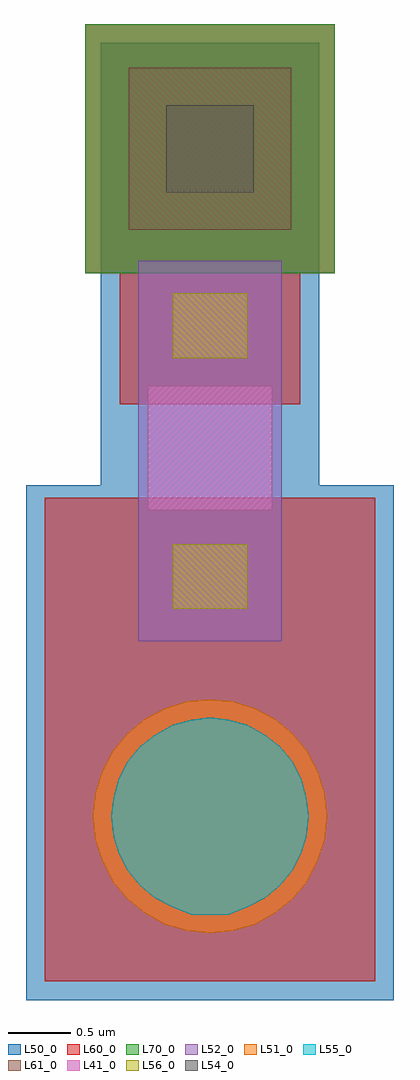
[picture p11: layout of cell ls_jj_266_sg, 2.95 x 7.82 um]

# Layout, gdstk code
import gdstk
lib = gdstk.Library(unit=1e-6, precision=1e-09)
def R(c, l, rs):  # rectangles x0, y0, x1, y1
    for r in rs: c.add(gdstk.rectangle(r[:2], r[2:], *l))
def P(c, l, *ps):  # polygons
    for p in ps: c.add(gdstk.Polygon(p, *l))
L41_0 = (41, 0)
L50_0 = (50, 0)
L51_0 = (51, 0)
L52_0 = (52, 0)
L54_0 = (54, 0)
L55_0 = (55, 0)
L56_0 = (56, 0)
L60_0 = (60, 0)
L61_0 = (61, 0)
L70_0 = (70, 0)

ls_conn_m5m6m7 = lib.new_cell('ls_conn_M5M6M7')
R(ls_conn_m5m6m7, L50_0, [(-0.5,-0.5,1.2,1.2)])
R(ls_conn_m5m6m7, L54_0, [(0,0,0.7,0.7)])
R(ls_conn_m5m6m7, L60_0, [(-0.65,-0.65,1.35,1.35)])
R(ls_conn_m5m6m7, L61_0, [(-0.3,-0.3,1,1)])
R(ls_conn_m5m6m7, L70_0, [(-0.65,-0.65,1.35,1.35)])

ls_jj_266_sg = lib.new_cell('ls_jj_266_sg')
R(ls_jj_266_sg, L41_0, [(-0.5,2.45,0.5,3.45)])
R(ls_jj_266_sg, L50_0, [(-1.475,-1.475,1.475,2.65), (-0.875,2.65,0.875,6.2)])
P(ls_jj_266_sg, L51_0, [(0,-0.94),(0.185,-0.92),(0.36,-0.87),(0.52,-0.78),(0.665,-0.665),(0.78,-0.525),(0.865,-0.36),(0.92,-0.185),(0.94,0),(0.92,0.18),(0.865,0.36),(0.78,0.52),(0.665,0.66),(0.52,0.78),(0.36,0.865),(0.185,0.92),(0,0.935),(-0.185,0.92),(-0.36,0.865),(-0.52,0.78),(-0.665,0.66),(-0.78,0.52),(-0.865,0.36),(-0.92,0.18),(-0.94,0),(-0.92,-0.185),(-0.865,-0.36),(-0.78,-0.525),(-0.665,-0.665),(-0.52,-0.78),(-0.36,-0.87),(-0.185,-0.92)])
R(ls_jj_266_sg, L52_0, [(-0.575,1.4,0.575,4.45)])
P(ls_jj_266_sg, L55_0, [(-0.15,-0.79),(0.15,-0.79),(0.3,-0.73),(0.44,-0.66),(0.56,-0.56),(0.66,-0.44),(0.73,-0.3),(0.77,-0.17),(0.79,0),(0.77,0.15),(0.73,0.3),(0.66,0.44),(0.56,0.56),(0.44,0.65),(0.3,0.73),(0.15,0.77),(0,0.79),(-0.15,0.77),(-0.3,0.73),(-0.44,0.65),(-0.56,0.56),(-0.66,0.44),(-0.73,0.3),(-0.77,0.15),(-0.79,0),(-0.77,-0.17),(-0.73,-0.3),(-0.66,-0.44),(-0.56,-0.56),(-0.44,-0.66),(-0.3,-0.73)])
R(ls_jj_266_sg, L56_0, [(-0.3,1.66,0.3,2.18), (-0.3,3.67,0.3,4.19)])
R(ls_jj_266_sg, L60_0, [(-1.325,-1.325,1.325,2.55), (-0.725,3.3,0.725,6.05)])
ls_jj_266_sg.add(gdstk.Reference(ls_conn_m5m6m7, (-0.35,5)))

lib.write_gds('ls_jj_266_sg.gds')
